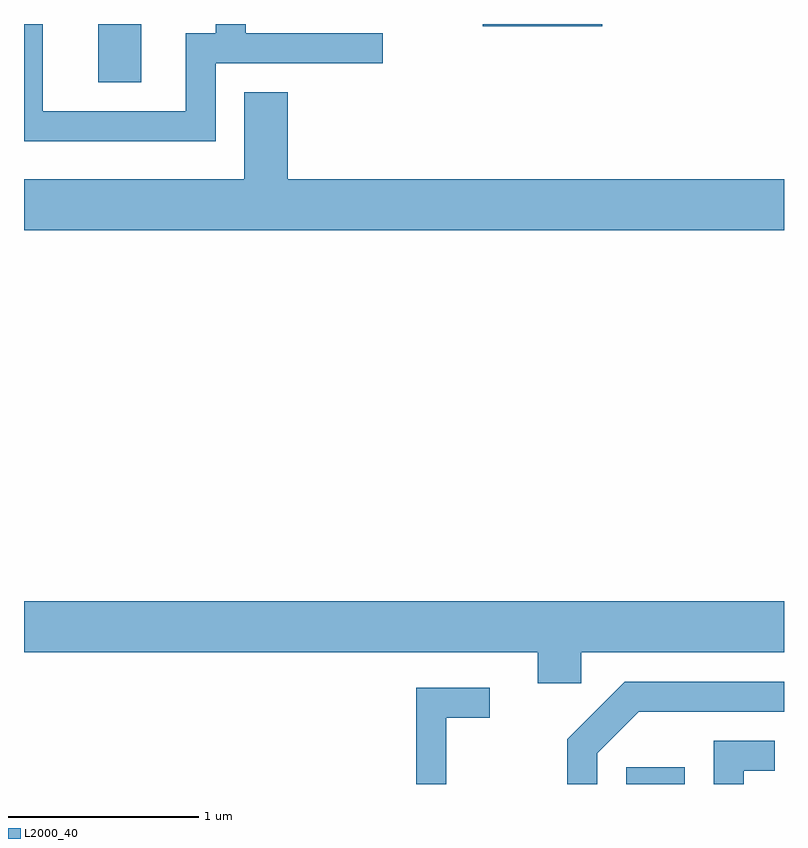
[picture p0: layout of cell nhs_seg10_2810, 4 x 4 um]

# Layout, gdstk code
import gdstk
lib = gdstk.Library(unit=1e-6, precision=1e-09)
def R(c, l, rs):  # rectangles x0, y0, x1, y1
    for r in rs: c.add(gdstk.rectangle(r[:2], r[2:], *l))
def P(c, l, *ps):  # polygons
    for p in ps: c.add(gdstk.Polygon(p, *l))
L2000_40 = (2000, 40)

nhs_seg10_2810 = lib.new_cell('nhs_seg10_2810')
R(nhs_seg10_2810, L2000_40, [(270.781,2146.522,271.089,2146.609), (268.001,2150.216,268.229,2150.522), (270.026,2150.511,270.654,2150.522)])
P(nhs_seg10_2810, L2000_40, [(268.619,2150.316),(269.498,2150.316),(269.498,2150.474),(268.779,2150.474),(268.779,2150.522),(268.621,2150.522),(268.621,2150.474),(268.461,2150.474),(268.461,2150.064),(267.709,2150.064),(267.709,2150.522),(267.611,2150.522),(267.611,2149.906),(268.619,2149.906)],
  [(271.611,2149.704),(268.999,2149.704),(268.999,2150.164),(268.771,2150.164),(268.771,2149.704),(267.611,2149.704),(267.611,2149.436),(271.611,2149.436)],
  [(270.544,2147.216),(271.611,2147.216),(271.611,2147.484),(267.611,2147.484),(267.611,2147.216),(270.316,2147.216),(270.316,2147.051),(270.544,2147.051)],
  [(270.629,2146.684),(270.847,2146.901),(271.611,2146.901),(271.611,2147.059),(270.774,2147.059),(270.471,2146.757),(270.471,2146.522),(270.629,2146.522)],
  [(269.834,2146.871),(270.063,2146.871),(270.063,2147.029),(269.676,2147.029),(269.676,2146.522),(269.834,2146.522)],
  [(271.399,2146.591),(271.563,2146.591),(271.563,2146.749),(271.241,2146.749),(271.241,2146.522),(271.399,2146.522)])

lib.write_gds('nhs_seg10_2810.gds')
